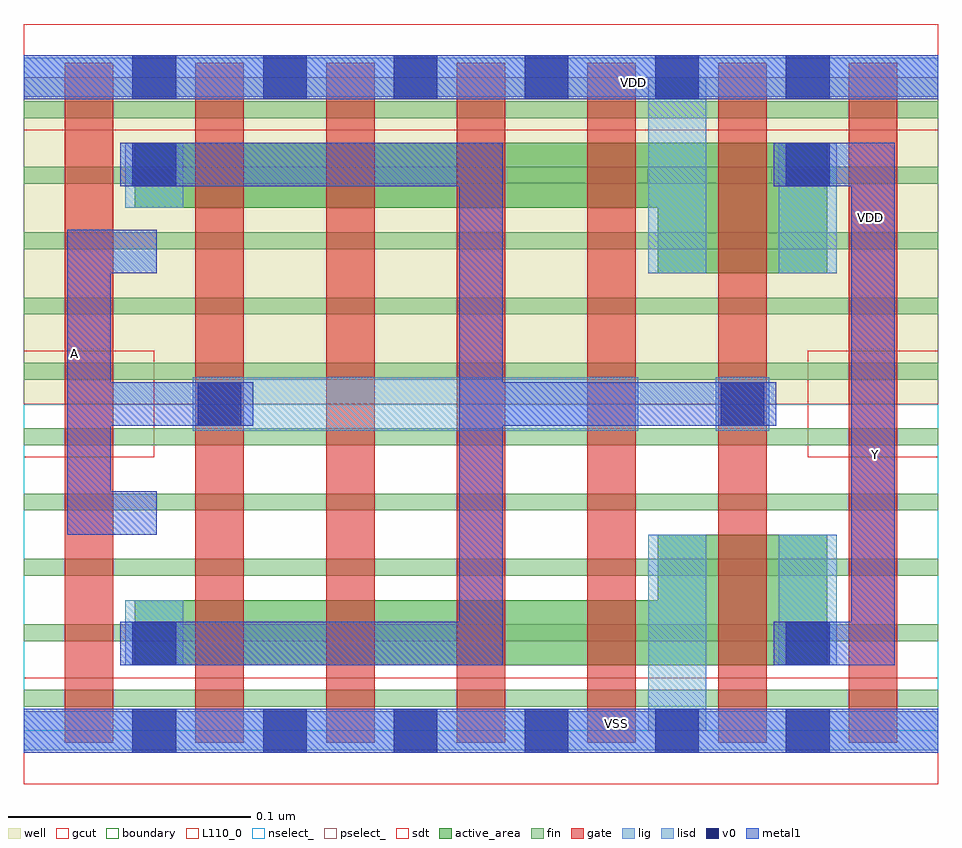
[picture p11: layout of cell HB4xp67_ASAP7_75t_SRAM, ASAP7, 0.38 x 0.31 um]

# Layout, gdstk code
import gdstk
lib = gdstk.Library(unit=1e-6, precision=1e-09)
def R(c, l, rs):  # rectangles x0, y0, x1, y1
    for r in rs: c.add(gdstk.rectangle(r[:2], r[2:], *l))
def A(c, l, x, y, w, h, nx, ny, dx, dy):  # array of equal rectangles
    R(c, l, [(x+i*dx, y+j*dy, x+i*dx+w, y+j*dy+h) for i in range(nx) for j in range(ny)])
def P(c, l, *ps):  # polygons
    for p in ps: c.add(gdstk.Polygon(p, *l))
well = (1, 0)
fin = (2, 0)
gate = (7, 0)
gcut = (10, 0)
active_area = (11, 0)
nselect_ = (12, 0)
pselect_ = (13, 0)
lig = (16, 0)
lisd = (17, 0)
v0 = (18, 0)
metal1 = (19, 0)
sdt = (88, 0)
boundary = (100, 0)
L110_0 = (110, 0)

hb4xp67_asap7_75t_sram = lib.new_cell('HB4xp67_ASAP7_75t_SRAM')
R(hb4xp67_asap7_75t_sram, well, [(0,0.135,0.378,0.27)])
A(hb4xp67_asap7_75t_sram, fin, 0, 0.01, 0.378, 0.007, 1, 10, 0, 0.027)
A(hb4xp67_asap7_75t_sram, gate, 0.017, -0.005, 0.02, 0.281, 7, 1, 0.054, 0)
R(hb4xp67_asap7_75t_sram, gcut, [(0,-0.022,0.378,0.022), (0,0.113,0.054,0.157), (0.324,0.113,0.378,0.157), (0,0.248,0.378,0.292)])
P(hb4xp67_asap7_75t_sram, active_area, [(0.332,0.243),(0.046,0.243),(0.046,0.216),(0.262,0.216),(0.262,0.189),(0.332,0.189)],
  [(0.332,0.081),(0.262,0.081),(0.262,0.054),(0.046,0.054),(0.046,0.027),(0.332,0.027)])
R(hb4xp67_asap7_75t_sram, nselect_, [(0,0,0.378,0.135)])
R(hb4xp67_asap7_75t_sram, pselect_, [(0,0.135,0.378,0.27)])
R(hb4xp67_asap7_75t_sram, lig, [(0,-0.008,0.378,0.008), (0.07,0.124,0.254,0.146), (0.286,0.124,0.308,0.146), (0,0.262,0.378,0.278)])
R(hb4xp67_asap7_75t_sram, lisd, [(0.258,0,0.282,0.081), (0.042,0.027,0.066,0.054), (0.312,0.027,0.336,0.081), (0.258,0.189,0.282,0.27), (0.312,0.189,0.336,0.243), (0.042,0.216,0.066,0.243)])
A(hb4xp67_asap7_75t_sram, v0, 0.045, -0.009, 0.018, 0.018, 6, 2, 0.054, 0.27)
R(hb4xp67_asap7_75t_sram, v0, [(0.045,0.027,0.063,0.045), (0.315,0.027,0.333,0.045), (0.072,0.126,0.09,0.144), (0.288,0.126,0.306,0.144), (0.045,0.225,0.063,0.243), (0.315,0.225,0.333,0.243)])
R(hb4xp67_asap7_75t_sram, metal1, [(0,-0.009,0.378,0.009), (0,0.261,0.378,0.279)])
P(hb4xp67_asap7_75t_sram, metal1, [(0.095,0.144),(0.036,0.144),(0.036,0.189),(0.055,0.189),(0.055,0.207),(0.018,0.207),(0.018,0.081),(0.055,0.081),(0.055,0.099),(0.036,0.099),(0.036,0.126),(0.095,0.126)],
  [(0.311,0.144),(0.198,0.144),(0.198,0.243),(0.04,0.243),(0.04,0.225),(0.18,0.225),(0.18,0.045),(0.04,0.045),(0.04,0.027),(0.198,0.027),(0.198,0.126),(0.311,0.126)],
  [(0.36,0.243),(0.31,0.243),(0.31,0.225),(0.342,0.225),(0.342,0.045),(0.31,0.045),(0.31,0.027),(0.36,0.027)])
R(hb4xp67_asap7_75t_sram, sdt, [(0.042,0.027,0.066,0.054), (0.258,0.027,0.282,0.081), (0.312,0.027,0.336,0.081), (0.258,0.189,0.282,0.243), (0.312,0.189,0.336,0.243), (0.042,0.216,0.066,0.243)])
R(hb4xp67_asap7_75t_sram, boundary, [(0,0,0.378,0.27)])
R(hb4xp67_asap7_75t_sram, L110_0, [(0,0,0.378,0.27)])
hb4xp67_asap7_75t_sram.add(gdstk.Label('VDD', (0.35,0.212), layer=1, texttype=251))
hb4xp67_asap7_75t_sram.add(gdstk.Label('VSS', (0.245,0.003), layer=19, texttype=251))
hb4xp67_asap7_75t_sram.add(gdstk.Label('VDD', (0.252,0.268), layer=19, texttype=251))
hb4xp67_asap7_75t_sram.add(gdstk.Label('Y', (0.352,0.114), layer=19, texttype=251))
hb4xp67_asap7_75t_sram.add(gdstk.Label('A', (0.021,0.156), layer=19, texttype=251))
hb4xp67_asap7_75t_sram.add(gdstk.Label('VSS', (0.419,0.211), layer=3, texttype=251))

lib.write_gds('HB4xp67_ASAP7_75t_SRAM.gds')
